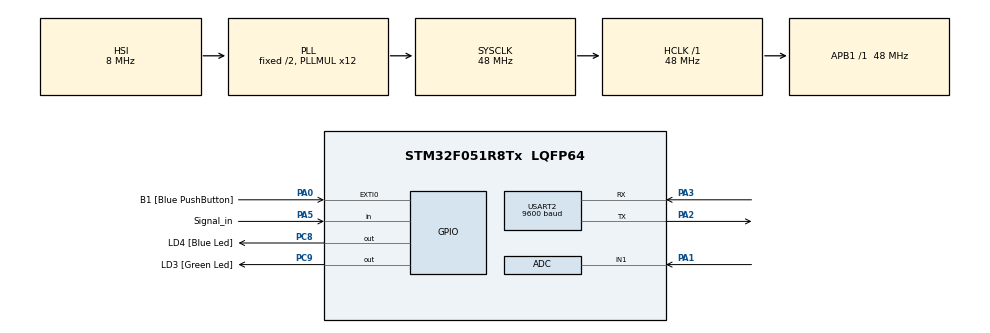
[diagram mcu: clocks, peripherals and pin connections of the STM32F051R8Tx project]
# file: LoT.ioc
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Mcu.Family=STM32F0
Mcu.Name=STM32F051R8Tx
Mcu.Package=LQFP64
NVIC.EXTI0_1_IRQn=true\:0\:0\:false\:false\:true\:true\:true\:true
PA0.GPIO_Label=B1 [Blue PushButton]
PA0.GPIO_ModeDefaultEXTI=GPIO_MODE_IT_RISING
PA0.Signal=GPXTI0
PA1.Mode=IN1
PA1.Signal=ADC_IN1
PA13.GPIO_Label=SWDIO
PA13.Mode=Serial_Wire
PA13.Signal=SYS_SWDIO
PA14.GPIO_Label=SWCLK
PA14.Mode=Serial_Wire
PA14.Signal=SYS_SWCLK
PA2.Mode=Asynchronous
PA2.Signal=USART2_TX
PA3.Mode=Asynchronous
PA3.Signal=USART2_RX
PA5.GPIO_Label=Signal_in
PA5.GPIO_PuPd=GPIO_PULLDOWN
PA5.Signal=GPIO_Input
PC8.GPIO_Label=LD4 [Blue Led]
PC8.Signal=GPIO_Output
PC9.GPIO_Label=LD3 [Green Led]
PC9.Signal=GPIO_Output
ProjectManager.HeapSize=0x200
ProjectManager.StackSize=0x400
ProjectManager.TargetToolchain=STM32CubeIDE
RCC.AHBFreq_Value=48000000
RCC.APB1Freq_Value=48000000
RCC.APB1TimFreq_Value=48000000
RCC.HCLKFreq_Value=48000000
RCC.PLLMUL=RCC_PLL_MUL12
RCC.SYSCLKFreq_VALUE=48000000
RCC.SYSCLKSource=RCC_SYSCLKSOURCE_PLLCLK
USART2.BaudRate=9600
USART2.VirtualMode-Asynchronous=VM_ASYNC
board=STM32F0DISCOVERY

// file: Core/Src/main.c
/* USER CODE BEGIN Header */
/**
  ******************************************************************************
  * @file           : main.c
  * @brief          : Main program body
  ******************************************************************************
  * @attention
  *
  * Copyright (c) 2022 STMicroelectronics.
  * All rights reserved.
  *
  * This software is licensed under terms that can be found in the LICENSE file
  * in the root directory of this software component.
  * If no LICENSE file comes with this software, it is provided AS-IS.
  *
  ******************************************************************************
  */
/* USER CODE END Header */
#include "main.h"

/* USER CODE BEGIN PD */
#define REF 0.5				// Reference used for determining value of incoming bits
#define PERIOD 1000			// Time between samples
/* USER CODE END PD */

ADC_HandleTypeDef hadc;

UART_HandleTypeDef huart2;

/* USER CODE BEGIN PV */
uint8_t listening = 0;		// Variable that is changed when blue push button is pressed
uint8_t data[8];			// Array to store data values as they are received
uint8_t samples = 0;		// Counter to keep track of number of data samples received
uint8_t allSamples[20];		// Array to store data samples once they have been converted from an array to a single byte value

char VAL_print[40];			// Array to use for printing to UART
/* USER CODE END PV */

void SystemClock_Config(void);
static void MX_GPIO_Init(void);
static void MX_ADC_Init(void);
static void MX_USART2_UART_Init(void);
/* USER CODE BEGIN PFP */
void EXTI0_1_IRQHandler(void);
uint8_t arrayToData(void);
/* USER CODE END PFP */

int main(void)
{

  /* MCU Configuration--------------------------------------------------------*/

  /* Reset of all peripherals, Initializes the Flash interface and the Systick. */
  HAL_Init();

  /* Configure the system clock */
  SystemClock_Config();

  /* Initialize all configured peripherals */
  MX_GPIO_Init();
  MX_ADC_Init();
  MX_USART2_UART_Init();

  /* Infinite loop */
  while (1)
  {

    /* USER CODE BEGIN 3 */

	  	  // Wait until push button is pressed to start listening
	  	  if (listening == 1)
	  	  {
	  		  //print to UART
	  		  memset(VAL_print, 0, sizeof(VAL_print));
	  		  sprintf(VAL_print, "Waiting...\r\n\r\n");
	  		  HAL_UART_Transmit(&huart2, VAL_print, sizeof(VAL_print), 1000);

	  		  // Check the value of the signal input pin
	  		  uint32_t state = HAL_GPIO_ReadPin(GPIOA, Signal_in_Pin);

	  		  // Wait for start bit from transmitter
	  		  while(state<REF)
	  		  {
	  			  // Continue checking state if input pin until input goes HIGH
	  			  state = HAL_GPIO_ReadPin(GPIOA, Signal_in_Pin);
	  		  }

	  		  // Once state of input pin goes high, begin to read and store the data being received
	  		  int cont = 1;
	  		  //while loop to check if more data is transmitted
	  		  while(cont)
	  		  {
	  			  readSignal();
	  			  HAL_Delay(PERIOD);
	  			  cont = HAL_GPIO_ReadPin(GPIOA, Signal_in_Pin);
	  		  }
	  	  }

  }
  /* USER CODE END 3 */
}

void SystemClock_Config(void)
{
  RCC_OscInitTypeDef RCC_OscInitStruct = {0};
  RCC_ClkInitTypeDef RCC_ClkInitStruct = {0};

  /** Initializes the RCC Oscillators according to the specified parameters
  * in the RCC_OscInitTypeDef structure.
  */
  RCC_OscInitStruct.OscillatorType = RCC_OSCILLATORTYPE_HSI|RCC_OSCILLATORTYPE_HSI14;
  RCC_OscInitStruct.HSIState = RCC_HSI_ON;
  RCC_OscInitStruct.HSI14State = RCC_HSI14_ON;
  RCC_OscInitStruct.HSICalibrationValue = RCC_HSICALIBRATION_DEFAULT;
  RCC_OscInitStruct.HSI14CalibrationValue = 16;
  RCC_OscInitStruct.PLL.PLLState = RCC_PLL_ON;
  RCC_OscInitStruct.PLL.PLLSource = RCC_PLLSOURCE_HSI;
  RCC_OscInitStruct.PLL.PLLMUL = RCC_PLL_MUL12;
  RCC_OscInitStruct.PLL.PREDIV = RCC_PREDIV_DIV1;
  if (HAL_RCC_OscConfig(&RCC_OscInitStruct) != HAL_OK)
  {
    Error_Handler();
  }

  /** Initializes the CPU, AHB and APB buses clocks
  */
  RCC_ClkInitStruct.ClockType = RCC_CLOCKTYPE_HCLK|RCC_CLOCKTYPE_SYSCLK
                              |RCC_CLOCKTYPE_PCLK1;
  RCC_ClkInitStruct.SYSCLKSource = RCC_SYSCLKSOURCE_PLLCLK;
  RCC_ClkInitStruct.AHBCLKDivider = RCC_SYSCLK_DIV1;
  RCC_ClkInitStruct.APB1CLKDivider = RCC_HCLK_DIV1;

  if (HAL_RCC_ClockConfig(&RCC_ClkInitStruct, FLASH_LATENCY_1) != HAL_OK)
  {
    Error_Handler();
  }
}

static void MX_ADC_Init(void)
{

  ADC_ChannelConfTypeDef sConfig = {0};

  /** Configure the global features of the ADC (Clock, Resolution, Data Alignment and number of conversion)
  */
  hadc.Instance = ADC1;
  hadc.Init.ClockPrescaler = ADC_CLOCK_ASYNC_DIV1;
  hadc.Init.Resolution = ADC_RESOLUTION_12B;
  hadc.Init.DataAlign = ADC_DATAALIGN_RIGHT;
  hadc.Init.ScanConvMode = ADC_SCAN_DIRECTION_FORWARD;
  hadc.Init.EOCSelection = ADC_EOC_SINGLE_CONV;
  hadc.Init.LowPowerAutoWait = DISABLE;
  hadc.Init.LowPowerAutoPowerOff = DISABLE;
  hadc.Init.ContinuousConvMode = DISABLE;
  hadc.Init.DiscontinuousConvMode = DISABLE;
  hadc.Init.ExternalTrigConv = ADC_SOFTWARE_START;
  hadc.Init.ExternalTrigConvEdge = ADC_EXTERNALTRIGCONVEDGE_NONE;
  hadc.Init.DMAContinuousRequests = DISABLE;
  hadc.Init.Overrun = ADC_OVR_DATA_PRESERVED;
  if (HAL_ADC_Init(&hadc) != HAL_OK)
  {
    Error_Handler();
  }

  /** Configure for the selected ADC regular channel to be converted.
  */
  sConfig.Channel = ADC_CHANNEL_1;
  sConfig.Rank = ADC_RANK_CHANNEL_NUMBER;
  sConfig.SamplingTime = ADC_SAMPLETIME_1CYCLE_5;
  if (HAL_ADC_ConfigChannel(&hadc, &sConfig) != HAL_OK)
  {
    Error_Handler();
  }
  /* USER CODE BEGIN ADC_Init 2 */
  ADC1->CR|=ADC_CR_ADEN;

  // Wait for ISR to be set
  while((ADC1->ISR & ADC_ISR_ADRDY)==0);
  /* USER CODE END ADC_Init 2 */

}

static void MX_USART2_UART_Init(void)
{

  huart2.Instance = USART2;
  huart2.Init.BaudRate = 9600;
  huart2.Init.WordLength = UART_WORDLENGTH_8B;
  huart2.Init.StopBits = UART_STOPBITS_1;
  huart2.Init.Parity = UART_PARITY_NONE;
  huart2.Init.Mode = UART_MODE_TX_RX;
  huart2.Init.HwFlowCtl = UART_HWCONTROL_NONE;
  huart2.Init.OverSampling = UART_OVERSAMPLING_16;
  huart2.Init.OneBitSampling = UART_ONE_BIT_SAMPLE_DISABLE;
  huart2.AdvancedInit.AdvFeatureInit = UART_ADVFEATURE_NO_INIT;
  if (HAL_UART_Init(&huart2) != HAL_OK)
  {
    Error_Handler();
  }

}

static void MX_GPIO_Init(void)
{
  GPIO_InitTypeDef GPIO_InitStruct = {0};

  /* GPIO Ports Clock Enable */
  __HAL_RCC_GPIOA_CLK_ENABLE();
  __HAL_RCC_GPIOC_CLK_ENABLE();

  /*Configure GPIO pin Output Level */
  HAL_GPIO_WritePin(GPIOC, LD4_Pin|LD3_Pin, GPIO_PIN_RESET);

  /*Configure GPIO pin : B1_Pin */
  GPIO_InitStruct.Pin = B1_Pin;
  GPIO_InitStruct.Mode = GPIO_MODE_IT_RISING;
  GPIO_InitStruct.Pull = GPIO_NOPULL;
  HAL_GPIO_Init(B1_GPIO_Port, &GPIO_InitStruct);

  /*Configure GPIO pin : Signal_in_Pin */
  GPIO_InitStruct.Pin = Signal_in_Pin;
  GPIO_InitStruct.Mode = GPIO_MODE_INPUT;
  GPIO_InitStruct.Pull = GPIO_PULLDOWN;
  HAL_GPIO_Init(Signal_in_GPIO_Port, &GPIO_InitStruct);

  /*Configure GPIO pins : LD4_Pin LD3_Pin */
  GPIO_InitStruct.Pin = LD4_Pin|LD3_Pin;
  GPIO_InitStruct.Mode = GPIO_MODE_OUTPUT_PP;
  GPIO_InitStruct.Pull = GPIO_NOPULL;
  GPIO_InitStruct.Speed = GPIO_SPEED_FREQ_LOW;
  HAL_GPIO_Init(GPIOC, &GPIO_InitStruct);

  /* EXTI interrupt init*/
  HAL_NVIC_SetPriority(EXTI0_1_IRQn, 0, 0);
  HAL_NVIC_EnableIRQ(EXTI0_1_IRQn);

}

/* USER CODE BEGIN 4 */
void EXTI0_1_IRQHandler(void)
{
	/* Interrupt that is called when the blue push button is pressed */

	//if the button is pressed set the mode to listening
	if (B1_Pin)
		{
			if (listening == 0)
			{
				// Change listening to 1 so that STM starts waiting for start bit
				listening = 1;
			}
		}

	HAL_GPIO_EXTI_IRQHandler(B1_Pin);
}

uint8_t arrayToData(void)
{
	/* Convert the data array into a single byte value */

	// Local variable to store data value
	uint8_t output = 0;

	for(int i = 0; i < 8; i++)
	{
		output = output + ((data[i])<<i);
	}

	//reset data to 0
	memset(data, 0, sizeof data);
	return output;
}

void readSignal(void)
{
	/* Function called to read the input signal and determine if the input is a data packet or the number of samples already sent */

	//add an initial delay
	HAL_Delay(PERIOD);

	// Local variable to store the state of the input signal (0 means data packet being sent, 1 means number of samples being sent
	uint32_t state = HAL_GPIO_ReadPin(GPIOA, Signal_in_Pin);

	//check mode of operation
	if (state < REF) //save data mode
	{
		// Let computer know we are receiving data
		memset(VAL_print, 0, sizeof(VAL_print))
		sprintf(VAL_print, "Receiving data values...\r\n");
		HAL_UART_Transmit(&huart2, VAL_print, sizeof(VAL_print), 1000);

		// Once mode bit has been received, store the next 8 bits of data in the data array
		for (int i = 7; i >= 0; i--)
		{
			// Add delay between samples
			HAL_Delay(PERIOD);

			// Read pin value
			state = HAL_GPIO_ReadPin(GPIOA, Signal_in_Pin);
			if (state < REF)
			{
				data[i] = 0;
			}
			else
			{
				data[i] = 1;
			}
		}

		// Convert data into single 8 bit int and store in allSamples array
		allSamples[samples] = arrayToData();

		// Increase packet counter
		samples++;

		// Stop listening
		listening = 0;

		// Transmit the value of data receiver
		memset(VAL_print, 0, sizeof(VAL_print));
		sprintf(VAL_print, "Value Received: %d\r\n\r\n", allSamples[samples-1]);
		HAL_UART_Transmit(&huart2, VAL_print, sizeof(VAL_print), 1000);
	}
	else //compare no samples
	{
		memset(VAL_print, 0, sizeof(VAL_print));
		sprintf(VAL_print, "Comparing number of transmissions...\r\n");
		HAL_UART_Transmit(&huart2, VAL_print, sizeof(VAL_print), 1000);
		for(int i = 7; i >= 0; i--)
		{
			// Add delay between samples
			HAL_Delay(PERIOD);

			// Read pin value
			state = HAL_GPIO_ReadPin(GPIOA, Signal_in_Pin);

			if (state < REF)
			{
				data[i] = 0;
			}
			else
			{
				data[i] = 1;
			}
		}

		// Transmit number of samples received
		uint8_t transmit_samples = arrayToData();
		memset(VAL_print, 0, sizeof(VAL_print));
		sprintf(VAL_print, "Number of transmissions: %d\r\n",transmit_samples);
		HAL_UART_Transmit(&huart2, VAL_print, sizeof(VAL_print), 1000);

		// Check if number of samples received equals number of samples sent by transmitter
		if (transmit_samples == samples)
		{
			// Let computer know the values are equal
			memset(VAL_print, 0, sizeof(VAL_print));
			sprintf(VAL_print, "It's the same!! :)\r\n\r\n");
			HAL_UART_Transmit(&huart2, VAL_print, sizeof(VAL_print), 1000);

			// Toggle green pin on and off if values equal
			HAL_GPIO_TogglePin(GPIOC, GPIO_PIN_9);
			HAL_Delay(500);
			HAL_GPIO_TogglePin(GPIOC, GPIO_PIN_9);
		}
		else
		{
			// Let computer know the values are not equal
			memset(VAL_print, 0, sizeof(VAL_print));
			sprintf(VAL_print, "It's not the same!! :(\r\n\r\n");
			HAL_UART_Transmit(&huart2, VAL_print, sizeof(VAL_print), 1000);

			// Toggle blue pin on and off if values equal
			HAL_GPIO_TogglePin(GPIOC, GPIO_PIN_8);
			HAL_Delay(500);
			HAL_GPIO_TogglePin(GPIOC, GPIO_PIN_8);

			// Change number of samples to number of samples sent by transmitted
			samples = transmit_samples;
		}
	}
}
/* USER CODE END 4 */

void Error_Handler(void)
{
  __disable_irq();
  while (1)
  {
  }
}
